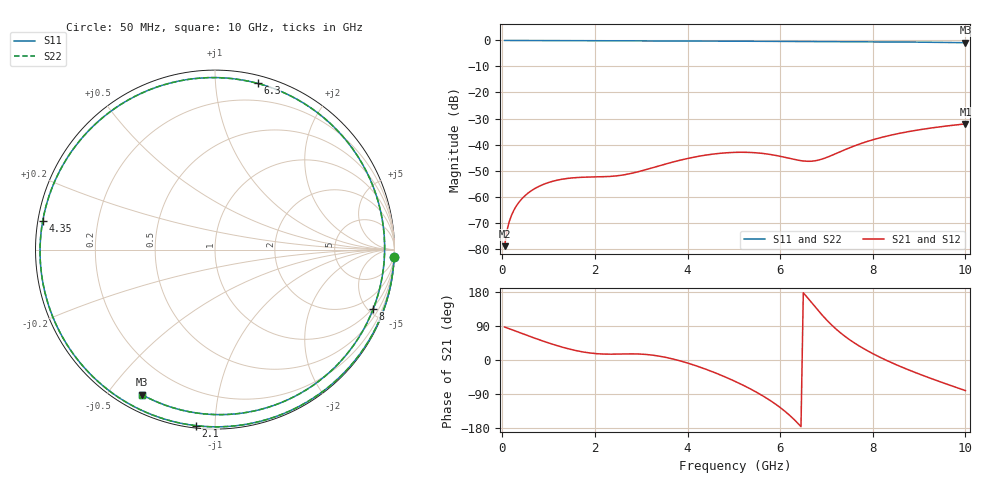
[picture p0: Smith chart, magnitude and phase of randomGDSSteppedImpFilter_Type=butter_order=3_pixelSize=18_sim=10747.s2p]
! freq	dB(S11)	phase(S11)	dB(S12)	phase(S12)
!  dB(S21)	phase(S21)	dB(S22)	phase(S22)
!S-par simulation data
#  GHz  S  DB  R 50
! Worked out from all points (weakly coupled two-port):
!   200 points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, 50 MHz to 10 GHz, reference 50 ohm
!   highest |S21| = -32.08 dB at 10 GHz (marker M1); lowest = -79.1 dB at 50 MHz (marker M2)
!   lowest |S11| = -0.9 dB at 10 GHz (marker M3), VSWR 19.99, Z = 3.45 - j30.7 ohm
!   |S11| at or under -10 dB: nowhere
!   |S22| runs from -0.9 to 0.0 dB; largest |S21 - S12| = 0
!   S11 on the Smith chart (normalised r, x): 50 MHz: 1, -47; 2.1 GHz: 0.01, -0.90; 4.35 GHz: 0.01, +0.08; 6.3 GHz: 0.06, +1.29; 8 GHz: 0.93, -5.38; 10 GHz: 0.07, -0.61
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0.05  -0.01 -2.4  -79.06 87.0  -79.06 87.0  -0.01 -2.4
0.1  -0.01 -4.8  -73.11 84.8  -73.11 84.8  -0.01 -4.8
0.2  -0.01 -9.6  -67.15 80.3  -67.15 80.3  -0.01 -9.6
0.5  -0.03 -24.0  -59.51 66.6  -59.51 66.6  -0.03 -24.0
1  -0.06 -47.4  -54.59 45.0  -54.59 45.0  -0.06 -47.4
1.75  -0.10 -81.1  -52.57 21.1  -52.57 21.1  -0.10 -81.0
2.1  -0.12 -96.1  -52.43 16.2  -52.43 16.2  -0.12 -96.1
2.7  -0.14 -121.2  -51.41 16.1  -51.41 16.1  -0.14 -121.2
3.4  -0.18 -149.8  -48.12 9.9  -48.12 9.9  -0.18 -149.8
3.9  -0.21 -170.4  -45.77 -4.4  -45.77 -4.4  -0.21 -170.3
4.35  -0.24 170.6  -44.19 -22.3  -44.19 -22.3  -0.24 170.7
5.05  -0.29 139.4  -43.00 -57.7  -43.00 -57.7  -0.29 139.4
5.7  -0.34 107.6  -43.59 -100.2  -43.59 -100.2  -0.34 107.6
6.3  -0.39 75.6  -45.71 -156.9  -45.71 -156.9  -0.39 75.6
6.7  -0.42 53.2  -46.37 148.5  -46.37 148.5  -0.42 53.2
7.35  -0.47 15.9  -42.36 67.0  -42.36 67.0  -0.47 15.9
8  -0.52 -20.5  -38.18 16.9  -38.18 16.9  -0.52 -20.4
8.35  -0.56 -39.1  -36.56 -4.0  -36.56 -4.0  -0.56 -39.0
8.75  -0.62 -59.3  -35.11 -24.9  -35.11 -24.9  -0.62 -59.2
9.15  -0.68 -78.5  -33.94 -43.9  -33.94 -43.9  -0.68 -78.4
9.55  -0.76 -96.8  -32.98 -61.6  -32.98 -61.6  -0.76 -96.7
10  -0.87 -116.7  -32.08 -80.8  -32.08 -80.8  -0.87 -116.6
